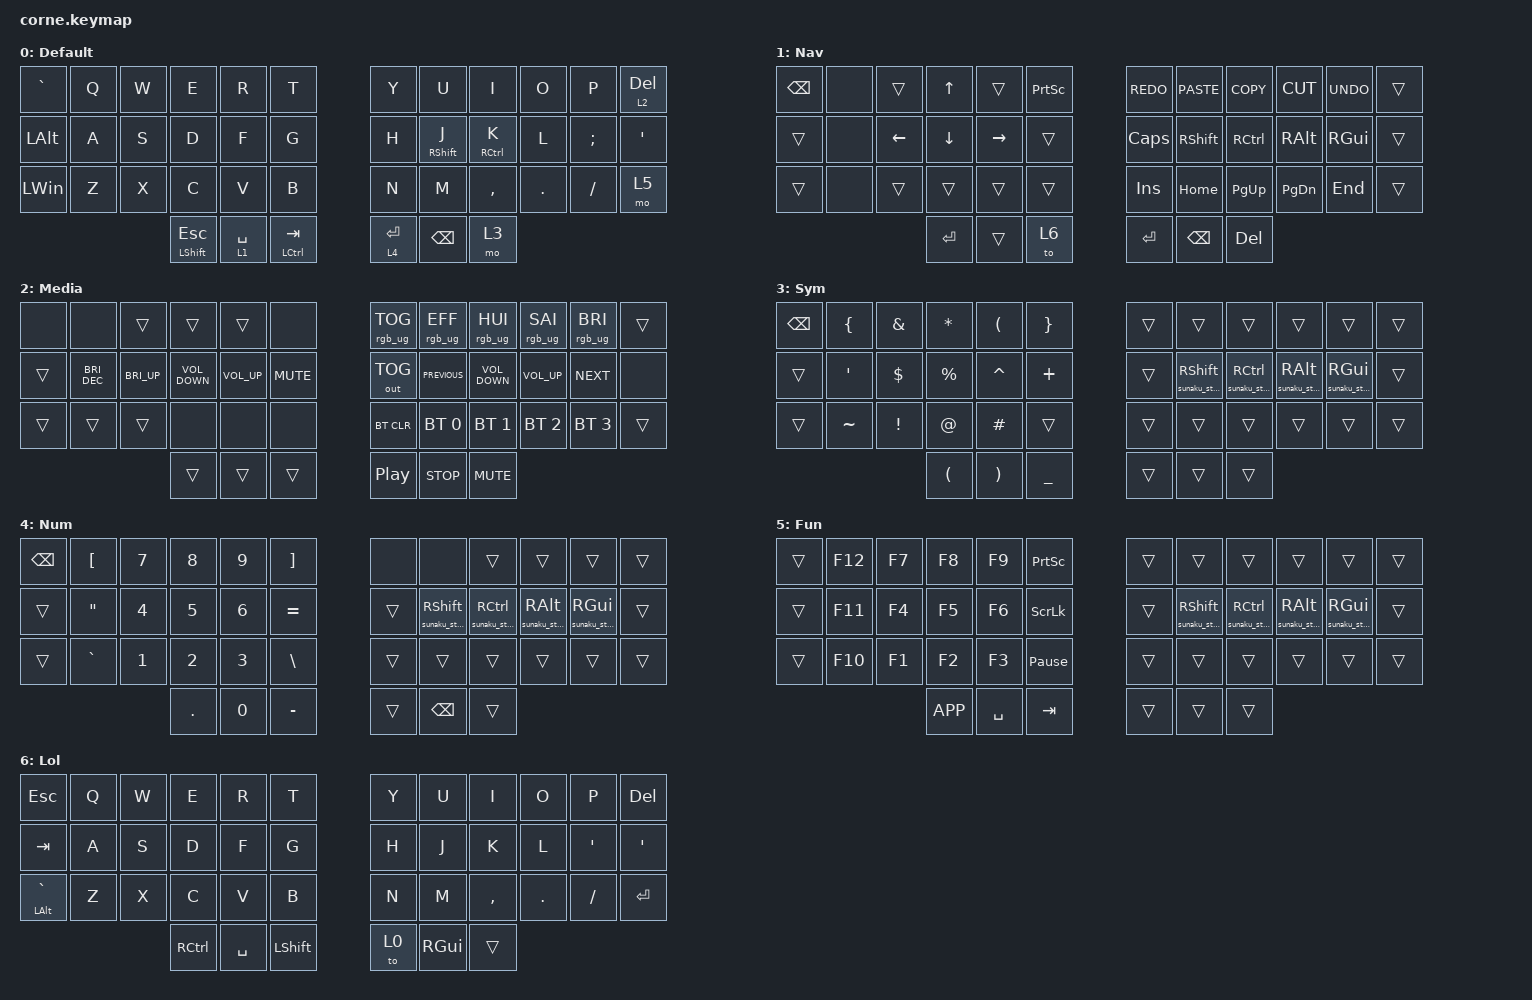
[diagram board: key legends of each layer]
/*
 * Copyright (c) 2020 The ZMK Contributors
 *
 * SPDX-License-Identifier: MIT
 */

#include <behaviors.dtsi>
#include <dt-bindings/zmk/bt.h>
#include <dt-bindings/zmk/keys.h>
#include <dt-bindings/zmk/outputs.h>
#include <dt-bindings/zmk/rgb.h>

&mmv {
    delay-ms = <0>;
    time-to-max-speed-ms = <300>;
};

/ {
    combos {
        compatible = "zmk,combos";

        parentheses_left {
            bindings = <&kp LEFT_PARENTHESIS>;
            key-positions = <19 20>;
            timeout-ms = <50>;
            slow-release;
            require-prior-idle-ms = <100>;
        };

        parentheses_right {
            bindings = <&kp RIGHT_PARENTHESIS>;
            key-positions = <21 22>;
            timeout-ms = <50>;
            slow-release;
            require-prior-idle-ms = <100>;
        };

        square_brackets_left {
            bindings = <&kp LEFT_BRACKET>;
            key-positions = <19 21>;
            timeout-ms = <50>;
            slow-release;
            require-prior-idle-ms = <100>;
        };

        square_brackets_right {
            bindings = <&kp RIGHT_BRACKET>;
            key-positions = <20 22>;
            timeout-ms = <50>;
            slow-release;
            require-prior-idle-ms = <100>;
        };

        aphostrophe {
            bindings = <&kp SQT>;
            key-positions = <9 10>;
        };
    };

    behaviors {
        hold_tap_left: hold_tap_left {
            compatible = "zmk,behavior-hold-tap";
            label = "HOLD_TAP_LEFT";
            bindings = <&kp>, <&kp>;

            #binding-cells = <2>;
            flavor = "balanced";
            tapping-term-ms = <300>;
            quick-tap-ms = <170>;
            require-prior-idle-ms = <170>;
            hold-trigger-on-release;
            hold-trigger-key-positions = <6 7 20 8 9 10 11 23 22 30 31 32 33 34 35 39 40 41 6 18 19 20 21 37 36 38>;
        };

        hold_tap_right: hold_tap_right {
            compatible = "zmk,behavior-hold-tap";
            label = "HOLD_TAP_RIGHT";
            bindings = <&kp>, <&kp>;

            #binding-cells = <2>;
            tapping-term-ms = <300>;
            quick-tap-ms = <169>;
            require-prior-idle-ms = <170>;
            flavor = "balanced";
            hold-trigger-on-release;
            hold-trigger-key-positions = <38 0 1 2 3 4 5 12 13 14 15 16 17 24 25 26 27 28 29 36 37 38 39 40 41>;
        };

        layer_homerow: layer_homerow {
            compatible = "zmk,behavior-hold-tap";
            label = "LAYER_HOMEROW";
            bindings = <&mo>, <&kp>;

            #binding-cells = <2>;
            tapping-term-ms = <220>;
            flavor = "tap-preferred";
            quick-tap-ms = <175>;
        };

        sunaku_sticky: sunaku_sticky {
            compatible = "zmk,behavior-sticky-key";
            label = "SUNAKU_STICKY";
            bindings = <&kp>;
            #binding-cells = <1>;
            release-after-ms = <1000>;
            quick-release;
        };

        bootloader_tapdance: bootloader_tapdance {
            compatible = "zmk,behavior-tap-dance";
            label = "BOOTLOADER_TAPDANCE";
            #binding-cells = <0>;
            bindings = <&none>, <&bootloader>;
        };

        holdtapwindow: holdtapwindow {
            compatible = "zmk,behavior-hold-tap";
            label = "HOLDTAPWINDOW";
            bindings = <&kp>, <&kp>;

            #binding-cells = <2>;
            tapping-term-ms = <400>;
            quick-tap-ms = <175>;
            flavor = "tap-preferred";
        };
    };

    macros {
        translate: translate {
            compatible = "zmk,behavior-macro";
            #binding-cells = <0>;
            bindings =
                <&macro_press>,
                <&kp LCTRL>,
                <&macro_tap>,
                <&kp C &kp B &kp V>,
                <&macro_release>,
                <&kp LCTRL>;

            label = "TRANSLATE";
        };
    };

    keymap {
        compatible = "zmk,keymap";

        Base {
            display-name = "Default";

            // -----------------------------------------------------------------------------------------
            // |  TAB |  Q  |  W  |  E  |  R  |  T  |   |  Y  |  U   |  I  |  O  |  P  | BSPC |
            // | CTRL |  A  |  S  |  D  |  F  |  G  |   |  H  |  J   |  K  |  L  |  ;  |  '   |
            // | SHFT |  Z  |  X  |  C  |  V  |  B  |   |  N  |  M   |  ,  |  .  |  /  | ESC  |
            //                    | GUI | LWR | SPC |   | ENT | RSE  | ALT |

            bindings = <
&kp GRAVE     &kp Q  &kp W  &kp E                  &kp R                   &kp T            &kp Y                   &kp U                          &kp I                    &kp O    &kp P          &layer_homerow 2 DEL
&kp LEFT_ALT  &kp A  &kp S  &kp D                  &kp F                   &kp G            &kp H                   &hold_tap_right RIGHT_SHIFT J  &hold_tap_right RCTRL K  &kp L    &kp SEMICOLON  &kp SQT
&kp LEFT_WIN  &kp Z  &kp X  &kp C                  &kp V                   &kp B            &kp N                   &kp M                          &kp COMMA                &kp DOT  &kp SLASH      &mo 5
                            &mt LEFT_SHIFT ESCAPE  &layer_homerow 1 SPACE  &mt LCTRL TAB    &layer_homerow 4 ENTER  &kp BACKSPACE                  &mo 3
            >;

            label = "Base";
        };

        Nav {
            bindings = <
&kp BACKSPACE  &none  &trans          &kp UP_ARROW    &trans           &kp PRINTSCREEN    &kp K_REDO    &kp K_PASTE      &kp K_COPY   &kp K_CUT      &kp K_UNDO     &trans
&trans         &none  &kp LEFT_ARROW  &kp DOWN_ARROW  &kp RIGHT_ARROW  &trans             &kp CAPSLOCK  &kp RIGHT_SHIFT  &kp RCTRL    &kp RIGHT_ALT  &kp RIGHT_GUI  &trans
&trans         &none  &trans          &trans          &trans           &trans             &kp INSERT    &kp HOME         &kp PAGE_UP  &kp PAGE_DOWN  &kp END        &trans
                                      &kp ENTER       &trans           &to 6              &kp RETURN    &kp BACKSPACE    &kp DELETE
            >;

            label = "Nav";
        };

        Media {
            bindings = <
&none   &none          &trans        &trans             &trans           &none         &rgb_ug RGB_TOG   &rgb_ug RGB_EFF  &rgb_ug RGB_HUI    &rgb_ug RGB_SAI  &rgb_ug RGB_BRI  &trans
&trans  &kp C_BRI_DEC  &kp C_BRI_UP  &kp C_VOLUME_DOWN  &kp C_VOLUME_UP  &kp C_MUTE    &out OUT_TOG      &kp C_PREVIOUS   &kp C_VOLUME_DOWN  &kp C_VOLUME_UP  &kp C_NEXT       &none
&trans  &trans         &trans        &none              &none            &none         &bt BT_CLR        &bt BT_SEL 0     &bt BT_SEL 1       &bt BT_SEL 2     &bt BT_SEL 3     &trans
                                     &trans             &trans           &trans        &kp C_PLAY_PAUSE  &kp K_STOP       &kp C_MUTE
            >;

            label = "Media";
        };

        Sym {
            bindings = <
&kp BACKSPACE  &kp LBRC   &kp AMPS  &kp STAR     &kp LEFT_PARENTHESIS  &kp RBRC          &trans  &trans                      &trans                &trans                    &trans                    &trans
&trans         &kp SQT    &kp DLLR  &kp PRCNT    &kp CARET             &kp PLUS          &trans  &sunaku_sticky RIGHT_SHIFT  &sunaku_sticky RCTRL  &sunaku_sticky RIGHT_ALT  &sunaku_sticky RIGHT_GUI  &trans
&trans         &kp TILDE  &kp EXCL  &kp AT_SIGN  &kp POUND             &trans            &trans  &trans                      &trans                &trans                    &trans                    &trans
                                    &kp LPAR     &kp RPAR              &kp UNDERSCORE    &trans  &trans                      &trans
            >;

            label = "Sym";
        };

        Num {
            bindings = <
&kp BACKSPACE  &kp LBKT           &kp N7  &kp N8   &kp N9  &kp RBKT     &none   &none                       &trans                &trans                    &trans                    &trans
&trans         &kp DOUBLE_QUOTES  &kp N4  &kp N5   &kp N6  &kp EQUAL    &trans  &sunaku_sticky RIGHT_SHIFT  &sunaku_sticky RCTRL  &sunaku_sticky RIGHT_ALT  &sunaku_sticky RIGHT_GUI  &trans
&trans         &kp GRAVE          &kp N1  &kp N2   &kp N3  &kp BSLH     &trans  &trans                      &trans                &trans                    &trans                    &trans
                                          &kp DOT  &kp N0  &kp MINUS    &trans  &kp BACKSPACE               &trans
            >;

            label = "Num";
        };

        Fun {
            bindings = <
&trans  &kp F12  &kp F7  &kp F8     &kp F9     &kp PRINTSCREEN    &trans  &trans                      &trans                &trans                    &trans                    &trans
&trans  &kp F11  &kp F4  &kp F5     &kp F6     &kp SCROLLLOCK     &trans  &sunaku_sticky RIGHT_SHIFT  &sunaku_sticky RCTRL  &sunaku_sticky RIGHT_ALT  &sunaku_sticky RIGHT_GUI  &trans
&trans  &kp F10  &kp F1  &kp F2     &kp F3     &kp PAUSE_BREAK    &trans  &trans                      &trans                &trans                    &trans                    &trans
                         &kp K_APP  &kp SPACE  &kp TAB            &trans  &trans                      &trans
            >;

            label = "Fun";
        };

        Lol {
            bindings = <
&kp ESCAPE          &kp Q  &kp W  &kp E      &kp R      &kp T             &kp Y  &kp U          &kp I      &kp O    &kp P     &kp DELETE
&kp TAB             &kp A  &kp S  &kp D      &kp F      &kp G             &kp H  &kp J          &kp K      &kp L    &kp APOS  &kp SQT
&mt LEFT_ALT GRAVE  &kp Z  &kp X  &kp C      &kp V      &kp B             &kp N  &kp M          &kp COMMA  &kp DOT  &kp FSLH  &kp ENTER
                                  &kp RCTRL  &kp SPACE  &kp LEFT_SHIFT    &to 0  &kp RIGHT_GUI  &trans
            >;

            label = "Lol";
        };
    };

    conditional_layers { compatible = "zmk,conditional-layers"; };
};
